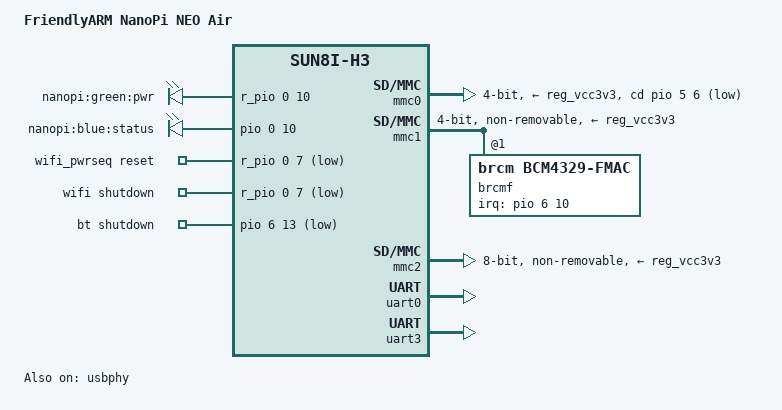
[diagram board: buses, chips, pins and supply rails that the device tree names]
/*
 * Copyright (C) 2017 Jelle van der Waa <jelle@vdwaa.nl>
 *
 * This file is dual-licensed: you can use it either under the terms
 * of the GPL or the X11 license, at your option. Note that this dual
 * licensing only applies to this file, and not this project as a
 * whole.
 *
 *  a) This file is free software; you can redistribute it and/or
 *     modify it under the terms of the GNU General Public License as
 *     published by the Free Software Foundation; either version 2 of the
 *     License, or (at your option) any later version.
 *
 *     This file is distributed in the hope that it will be useful,
 *     but WITHOUT ANY WARRANTY; without even the implied warranty of
 *     MERCHANTABILITY or FITNESS FOR A PARTICULAR PURPOSE.  See the
 *     GNU General Public License for more details.
 *
 * Or, alternatively,
 *
 *  b) Permission is hereby granted, free of charge, to any person
 *     obtaining a copy of this software and associated documentation
 *     files (the "Software"), to deal in the Software without
 *     restriction, including without limitation the rights to use,
 *     copy, modify, merge, publish, distribute, sublicense, and/or
 *     sell copies of the Software, and to permit persons to whom the
 *     Software is furnished to do so, subject to the following
 *     conditions:
 *
 *     The above copyright notice and this permission notice shall be
 *     included in all copies or substantial portions of the Software.
 *
 *     THE SOFTWARE IS PROVIDED "AS IS", WITHOUT WARRANTY OF ANY KIND,
 *     EXPRESS OR IMPLIED, INCLUDING BUT NOT LIMITED TO THE WARRANTIES
 *     OF MERCHANTABILITY, FITNESS FOR A PARTICULAR PURPOSE AND
 *     NONINFRINGEMENT. IN NO EVENT SHALL THE AUTHORS OR COPYRIGHT
 *     HOLDERS BE LIABLE FOR ANY CLAIM, DAMAGES OR OTHER LIABILITY,
 *     WHETHER IN AN ACTION OF CONTRACT, TORT OR OTHERWISE, ARISING
 *     FROM, OUT OF OR IN CONNECTION WITH THE SOFTWARE OR THE USE OR
 *     OTHER DEALINGS IN THE SOFTWARE.
 */

/dts-v1/;
#include "sun8i-h3.dtsi"
#include "sunxi-common-regulators.dtsi"

#include <dt-bindings/gpio/gpio.h>
#include <dt-bindings/pinctrl/sun4i-a10.h>

/ {
	model = "FriendlyARM NanoPi NEO Air";
	compatible = "friendlyarm,nanopi-neo-air", "allwinner,sun8i-h3";

	aliases {
		serial0 = &uart0;
		serial3 = &uart3;
	};

	chosen {
		stdout-path = "serial0:115200n8";
	};

	leds {
		compatible = "gpio-leds";

		pwr {
			label = "nanopi:green:pwr";
			gpios = <&r_pio 0 10 GPIO_ACTIVE_HIGH>; /* PL10 */
			default-state = "on";
		};

		status {
			label = "nanopi:blue:status";
			gpios = <&pio 0 10 GPIO_ACTIVE_HIGH>; /* PA10 */
		};
	};

	wifi_pwrseq: wifi-pwrseq {
		compatible = "mmc-pwrseq-simple";
		pinctrl-names = "default";
		pinctrl-0 = <&wifi_en_nanopi_neo_air>;
		reset-gpios = <&r_pio 0 7 GPIO_ACTIVE_LOW>; /* PL7 */
	};

	rfkill-switches {
		compatible = "simple-bus";
		pinctrl-names = "default";

		rfkill_wifi {
			compatible = "rfkill-gpio";
			pinctrl-names = "default";
			pinctrl-0 = <&wifi_pwrseq>;
			shutdown-gpio = <&r_pio 0 7 GPIO_ACTIVE_LOW>; /* PL7 */
			label = "wifi";
			type = <1>;
		};

		rfkill_bt {
			compatible = "rfkill-gpio";
			pinctrl-names = "default", "default";
			pinctrl-0 = <&bt_pwr_pin>;
			shutdown-gpio = <&pio 6 13 GPIO_ACTIVE_LOW>; /* PG13 */
			label = "bt";
			type = <2>;
		};
	};
};

&mmc0 {
	pinctrl-names = "default";
	pinctrl-0 = <&mmc0_pins_a>, <&mmc0_cd_pin>;
	vmmc-supply = <&reg_vcc3v3>;
	bus-width = <4>;
	cd-gpios = <&pio 5 6 GPIO_ACTIVE_HIGH>; /* PF6 */
	cd-inverted;
	status = "okay";
};

&mmc1 {
	pinctrl-names = "default";
	pinctrl-0 = <&mmc1_pins_a>;
	vmmc-supply = <&reg_vcc3v3>;
	vqmmc-supply = <&reg_vcc3v3>;
	mmc-pwrseq = <&wifi_pwrseq>;
	bus-width = <4>;
	non-removable;
	status = "okay";

	brcmf: bcrmf@1 {
		reg = <1>;
		compatible = "brcm,bcm4329-fmac";
		interrupt-parent = <&pio>;
		interrupts = <6 10 IRQ_TYPE_LEVEL_LOW>; /* PG10 / EINT10 */
		interrupt-names = "host-wake";
	};
};

&mmc2 {
	pinctrl-names = "default";
	pinctrl-0 = <&mmc2_8bit_pins>;
	vmmc-supply = <&reg_vcc3v3>;
	vqmmc-supply = <&reg_vcc3v3>;
	bus-width = <8>;
	non-removable;
	status = "okay";
};

&r_pio {
	wifi_en_nanopi_neo_air: wifi_en_pin {
		pins = "PL7";
		function = "gpio_out";
		drive-strength = <10>;
		bias-disable;
	};
};

&uart0 {
	pinctrl-names = "default";
	pinctrl-0 = <&uart0_pins_a>;
	status = "okay";
};

&usbphy {
	/* USB VBUS is always on */
	status = "okay";
};

&pio {
	bt_pwr_pin: bt_pwr_pin@0 {
		allwinner,pins = "PG13";
		allwinner,function = "gpio_out";
		allwinner,drive = <0>;
		allwinner,pull = <0>;
	};

	bt_wake_pin: bt_wake_pin@0 {
		allwinner,pins = "PA8";
		allwinner,function = "gpio_out";
		allwinner,drive = <0>;
		allwinner,pull = <0>;
	};
};

&uart3 { /* Connected to AP6212 on Neo Air */
	pinctrl-names = "default";
	pinctrl-0 = <&uart3_pins>, <&uart3_rts_cts_pins>;
	status = "okay";
};
